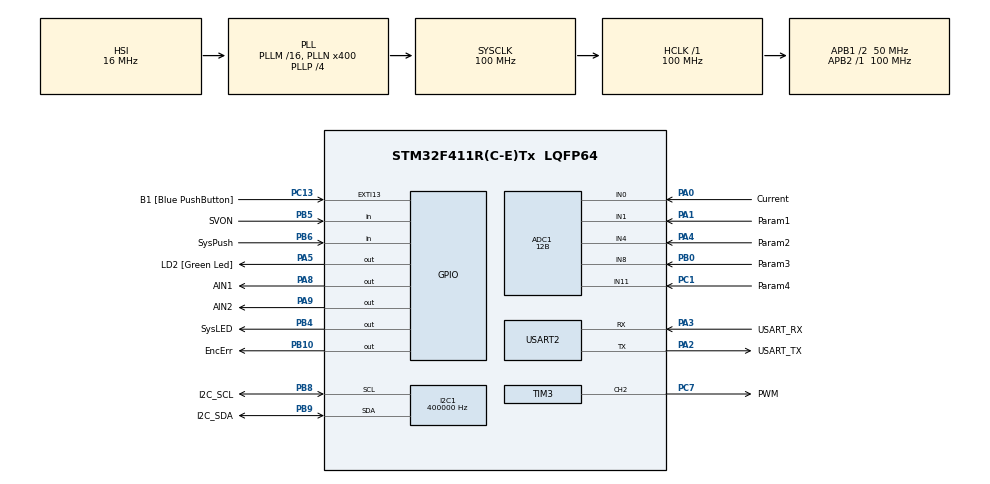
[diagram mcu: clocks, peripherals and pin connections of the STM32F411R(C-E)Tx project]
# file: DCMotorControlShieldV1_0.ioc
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ADC1.Channel-0\#ChannelRegularConversion=ADC_CHANNEL_0
ADC1.Channel-5\#ChannelRegularConversion=ADC_CHANNEL_1
ADC1.Channel-6\#ChannelRegularConversion=ADC_CHANNEL_4
ADC1.Channel-7\#ChannelRegularConversion=ADC_CHANNEL_8
ADC1.Channel-8\#ChannelRegularConversion=ADC_CHANNEL_11
ADC1.ClockPrescaler=ADC_CLOCK_SYNC_PCLK_DIV4
ADC1.ContinuousConvMode=DISABLE
ADC1.DMAContinuousRequests=ENABLE
ADC1.DataAlign=ADC_DATAALIGN_RIGHT
ADC1.DiscontinuousConvMode=DISABLE
ADC1.EOCSelection=ADC_EOC_SEQ_CONV
ADC1.EnableAnalogWatchDog=false
ADC1.ExternalTrigConv=ADC_EXTERNALTRIGCONV_T3_TRGO
ADC1.ExternalTrigConvEdge=ADC_EXTERNALTRIGCONVEDGE_RISING
ADC1.InjNumberOfConversion=0
ADC1.NbrOfConversion=5
ADC1.NbrOfConversionFlag=1
ADC1.Rank-0\#ChannelRegularConversion=1
ADC1.Rank-5\#ChannelRegularConversion=2
ADC1.Rank-6\#ChannelRegularConversion=3
ADC1.Rank-7\#ChannelRegularConversion=4
ADC1.Rank-8\#ChannelRegularConversion=5
ADC1.Resolution=ADC_RESOLUTION_12B
ADC1.SamplingTime-0\#ChannelRegularConversion=ADC_SAMPLETIME_144CYCLES
ADC1.SamplingTime-5\#ChannelRegularConversion=ADC_SAMPLETIME_28CYCLES
ADC1.SamplingTime-6\#ChannelRegularConversion=ADC_SAMPLETIME_28CYCLES
ADC1.SamplingTime-7\#ChannelRegularConversion=ADC_SAMPLETIME_28CYCLES
ADC1.SamplingTime-8\#ChannelRegularConversion=ADC_SAMPLETIME_28CYCLES
ADC1.ScanConvMode=ENABLE
ADC1.master=1
Dma.ADC1.1.Direction=DMA_PERIPH_TO_MEMORY
Dma.ADC1.1.FIFOMode=DMA_FIFOMODE_DISABLE
Dma.ADC1.1.Instance=DMA2_Stream0
Dma.ADC1.1.MemDataAlignment=DMA_MDATAALIGN_HALFWORD
Dma.ADC1.1.MemInc=DMA_MINC_ENABLE
Dma.ADC1.1.Mode=DMA_CIRCULAR
Dma.ADC1.1.PeriphDataAlignment=DMA_PDATAALIGN_HALFWORD
Dma.ADC1.1.PeriphInc=DMA_PINC_DISABLE
Dma.ADC1.1.Priority=DMA_PRIORITY_VERY_HIGH
Dma.I2C1_RX.0.Direction=DMA_PERIPH_TO_MEMORY
Dma.I2C1_RX.0.FIFOMode=DMA_FIFOMODE_DISABLE
Dma.I2C1_RX.0.Instance=DMA1_Stream0
Dma.I2C1_RX.0.MemDataAlignment=DMA_MDATAALIGN_BYTE
Dma.I2C1_RX.0.MemInc=DMA_MINC_ENABLE
Dma.I2C1_RX.0.Mode=DMA_NORMAL
Dma.I2C1_RX.0.PeriphDataAlignment=DMA_PDATAALIGN_BYTE
Dma.I2C1_RX.0.PeriphInc=DMA_PINC_DISABLE
Dma.I2C1_RX.0.Priority=DMA_PRIORITY_VERY_HIGH
Dma.Request0=I2C1_RX
Dma.Request1=ADC1
FREERTOS.HEAP_NUMBER=1
FREERTOS.INCLUDE_vTaskDelayUntil=1
FREERTOS.MEMORY_ALLOCATION=0
FREERTOS.Tasks01=Default,0,128,DefaultTask,Default,NULL,Dynamic,NULL,NULL;MinorLoop,3,256,MinorLoopTask,As external,NULL,Dynamic,NULL,NULL;MajorLoopControl,2,1024,MajorLoopTask,As external,NULL,Dynamic,NULL,NULL;SerialCommunication,-2,512,SerialCommunicationTask,As external,NULL,Dynamic,NULL,NULL
FREERTOS.configCHECK_FOR_STACK_OVERFLOW=2
FREERTOS.configMAX_TASK_NAME_LEN=30
FREERTOS.configUSE_MALLOC_FAILED_HOOK=1
I2C1.ClockSpeed=400000
I2C1.DutyCycle=I2C_DUTYCYCLE_2
I2C1.I2C_Mode=I2C_Fast
I2C1.NoStretchMode=I2C_NOSTRETCH_DISABLE
I2C1.OwnAddress=0x00
Mcu.Family=STM32F4
Mcu.Name=STM32F411R(C-E)Tx
Mcu.Package=LQFP64
Mcu.UserConstants=TIM_CLOCK_SOURCE_HZ,100000000
NVIC.ADC_IRQn=true\:5\:0\:false\:false\:true\:true
NVIC.DMA1_Stream0_IRQn=true\:5\:0\:true\:false\:true\:false
NVIC.DMA2_Stream0_IRQn=true\:5\:0\:true\:false\:true\:false
NVIC.I2C1_ER_IRQn=true\:5\:0\:false\:false\:true\:true
NVIC.I2C1_EV_IRQn=true\:5\:0\:false\:false\:true\:true
NVIC.PriorityGroup=NVIC_PRIORITYGROUP_4
PA0-WKUP.GPIO_Label=Current
PA0-WKUP.Signal=ADCx_IN0
PA1.GPIO_Label=Param1
PA1.Signal=ADCx_IN1
PA13.GPIO_Label=TMS
PA13.Signal=SYS_JTMS-SWDIO
PA14.GPIO_Label=TCK
PA14.Signal=SYS_JTCK-SWCLK
PA2.GPIO_Label=USART_TX
PA2.Mode=Asynchronous
PA2.Signal=USART2_TX
PA3.GPIO_Label=USART_RX
PA3.Mode=Asynchronous
PA3.Signal=USART2_RX
PA4.GPIO_Label=Param2
PA4.Signal=ADCx_IN4
PA5.GPIO_Label=LD2 [Green Led]
PA5.GPIO_Speed=GPIO_SPEED_FREQ_LOW
PA5.Signal=GPIO_Output
PA8.GPIO_Label=AIN1
PA8.GPIO_PuPd=GPIO_PULLDOWN
PA8.GPIO_Speed=GPIO_SPEED_FREQ_VERY_HIGH
PA8.Signal=GPIO_Output
PA9.GPIO_Label=AIN2
PA9.GPIO_PuPd=GPIO_PULLDOWN
PA9.GPIO_Speed=GPIO_SPEED_FREQ_VERY_HIGH
PA9.PinState=GPIO_PIN_RESET
PA9.Signal=GPIO_Output
PB0.GPIO_Label=Param3
PB0.Signal=ADCx_IN8
PB10.GPIO_Label=EncErr
PB10.GPIO_Speed=GPIO_SPEED_FREQ_VERY_HIGH
PB10.Signal=GPIO_Output
PB4.GPIO_Label=SysLED
PB4.GPIO_Speed=GPIO_SPEED_FREQ_VERY_HIGH
PB4.Signal=GPIO_Output
PB5.GPIO_Label=SVON
PB5.GPIO_PuPd=GPIO_NOPULL
PB5.Signal=GPIO_Input
PB6.GPIO_Label=SysPush
PB6.GPIO_PuPd=GPIO_PULLUP
PB6.Signal=GPIO_Input
PB8.GPIO_Label=I2C_SCL
PB8.GPIO_PuPdOD=GPIO_NOPULL
PB8.GPIO_Speed=GPIO_SPEED_FREQ_VERY_HIGH
PB8.Mode=I2C
PB8.Signal=I2C1_SCL
PB9.GPIO_Label=I2C_SDA
PB9.GPIO_PuPdOD=GPIO_NOPULL
PB9.GPIO_Speed=GPIO_SPEED_FREQ_VERY_HIGH
PB9.Mode=I2C
PB9.Signal=I2C1_SDA
PC1.GPIO_Label=Param4
PC1.Signal=ADCx_IN11
PC13-ANTI_TAMP.GPIO_Label=B1 [Blue PushButton]
PC13-ANTI_TAMP.GPIO_ModeDefaultEXTI=GPIO_MODE_IT_FALLING
PC13-ANTI_TAMP.Signal=GPXTI13
PC14-OSC32_IN.Signal=RCC_OSC32_IN
PC15-OSC32_OUT.Signal=RCC_OSC32_OUT
PC7.GPIO_Label=PWM
PC7.GPIO_Speed=GPIO_SPEED_FREQ_VERY_HIGH
PC7.Signal=S_TIM3_CH2
PH0\ -\ OSC_IN.Signal=RCC_OSC_IN
PH1\ -\ OSC_OUT.Signal=RCC_OSC_OUT
ProjectManager.HeapSize=0x200
ProjectManager.StackSize=0x400
ProjectManager.TargetToolchain=SW4STM32
RCC.48MHZClocksFreq_Value=100000000
RCC.AHBFreq_Value=100000000
RCC.APB1CLKDivider=RCC_HCLK_DIV2
RCC.APB1Freq_Value=50000000
RCC.APB1TimFreq_Value=100000000
RCC.APB2Freq_Value=100000000
RCC.APB2TimFreq_Value=100000000
RCC.CortexFreq_Value=100000000
RCC.FLatency-AdvancedSettings=FLASH_LATENCY_3
RCC.HCLKFreq_Value=100000000
RCC.HSE_VALUE=8000000
RCC.HSI_VALUE=16000000
RCC.LSE_VALUE=32768
RCC.PLLN=400
RCC.PLLP=RCC_PLLP_DIV4
RCC.SYSCLKFreq_VALUE=100000000
RCC.SYSCLKSource=RCC_SYSCLKSOURCE_PLLCLK
RCC.VCOOutputFreq_Value=400000000
SH.ADCx_IN0.0=ADC1_IN0,IN0
SH.ADCx_IN1.0=ADC1_IN1,IN1
SH.ADCx_IN11.0=ADC1_IN11,IN11
SH.ADCx_IN4.0=ADC1_IN4,IN4
SH.ADCx_IN8.0=ADC1_IN8,IN8
SH.S_TIM3_CH2.0=TIM3_CH2,PWM Generation2 CH2
TIM3.Channel-PWM\ Generation2\ CH2=TIM_CHANNEL_2
TIM3.OCFastMode_PWM-PWM\ Generation2\ CH2=TIM_OCFAST_DISABLE
TIM3.Period=TIM_CLOCK_SOURCE_HZ / 20000 - 1
TIM3.Prescaler=0
TIM3.Pulse-PWM\ Generation2\ CH2=0
TIM3.TIM_MasterOutputTrigger=TIM_TRGO_UPDATE
USART2.VirtualMode=VM_ASYNC
VP_FREERTOS_VS_ENABLE.Mode=Enabled
board=NUCLEO-F411RE

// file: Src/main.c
/**
  ******************************************************************************
  * File Name          : main.c
  * Description        : Main program body
  ******************************************************************************
  * This notice applies to any and all portions of this file
  * that are not between comment pairs USER CODE BEGIN and
  * USER CODE END. Other portions of this file, whether
  * inserted by the user or by software development tools
  * are owned by their respective copyright owners.
  *
  * Copyright (c) 2017 STMicroelectronics International N.V.
  * All rights reserved.
  *
  * Redistribution and use in source and binary forms, with or without
  * modification, are permitted, provided that the following conditions are met:
  *
  * 1. Redistribution of source code must retain the above copyright notice,
  *    this list of conditions and the following disclaimer.
  * 2. Redistributions in binary form must reproduce the above copyright notice,
  *    this list of conditions and the following disclaimer in the documentation
  *    and/or other materials provided with the distribution.
  * 3. Neither the name of STMicroelectronics nor the names of other
  *    contributors to this software may be used to endorse or promote products
  *    derived from this software without specific written permission.
  * 4. This software, including modifications and/or derivative works of this
  *    software, must execute solely and exclusively on microcontroller or
  *    microprocessor devices manufactured by or for STMicroelectronics.
  * 5. Redistribution and use of this software other than as permitted under
  *    this license is void and will automatically terminate your rights under
  *    this license.
  *
  * THIS SOFTWARE IS PROVIDED BY STMICROELECTRONICS AND CONTRIBUTORS "AS IS"
  * AND ANY EXPRESS, IMPLIED OR STATUTORY WARRANTIES, INCLUDING, BUT NOT
  * LIMITED TO, THE IMPLIED WARRANTIES OF MERCHANTABILITY, FITNESS FOR A
  * PARTICULAR PURPOSE AND NON-INFRINGEMENT OF THIRD PARTY INTELLECTUAL PROPERTY
  * RIGHTS ARE DISCLAIMED TO THE FULLEST EXTENT PERMITTED BY LAW. IN NO EVENT
  * SHALL STMICROELECTRONICS OR CONTRIBUTORS BE LIABLE FOR ANY DIRECT, INDIRECT,
  * INCIDENTAL, SPECIAL, EXEMPLARY, OR CONSEQUENTIAL DAMAGES (INCLUDING, BUT NOT
  * LIMITED TO, PROCUREMENT OF SUBSTITUTE GOODS OR SERVICES; LOSS OF USE, DATA,
  * OR PROFITS; OR BUSINESS INTERRUPTION) HOWEVER CAUSED AND ON ANY THEORY OF
  * LIABILITY, WHETHER IN CONTRACT, STRICT LIABILITY, OR TORT (INCLUDING
  * NEGLIGENCE OR OTHERWISE) ARISING IN ANY WAY OUT OF THE USE OF THIS SOFTWARE,
  * EVEN IF ADVISED OF THE POSSIBILITY OF SUCH DAMAGE.
  *
  ******************************************************************************
  */
#include "main.h"
#include "stm32f4xx_hal.h"
#include "cmsis_os.h"
#include "adc.h"
#include "dma.h"
#include "i2c.h"
#include "tim.h"
#include "usart.h"
#include "gpio.h"

/* USER CODE BEGIN Includes */
//#define USE_MBED

#ifdef USE_MBED
#include "mbed.h"
#endif // USE_MBED
/* USER CODE END Includes */

void SystemClock_Config(void);
void MX_FREERTOS_Init(void);

/* USER CODE BEGIN PFP */
/* Private function prototypes -----------------------------------------------*/

/* USER CODE END PFP */

/* USER CODE BEGIN 0 */
/*
#if (configTICK_RATE_HZ) != (FreeRTOS_PERIOD_HZ)
#error change configTICK_RATE_HZ in FreeRTOSConfig.h to FreeRTOS_PERIOD_HZ
#endif*/
/* USER CODE END 0 */

int main(void)
{

  /* MCU Configuration----------------------------------------------------------*/

  /* Reset of all peripherals, Initializes the Flash interface and the Systick. */
  HAL_Init();

  /* USER CODE BEGIN Init */
#ifdef USE_MBED
  goto Skip_SystemClock_Config;
#endif
  /* USER CODE END Init */

  /* Configure the system clock */
  SystemClock_Config();

  /* USER CODE BEGIN SysInit */
Skip_SystemClock_Config:
  /* USER CODE END SysInit */

  /* Initialize all configured peripherals */
  MX_GPIO_Init();
  MX_DMA_Init();
  MX_USART2_UART_Init();
  MX_I2C1_Init();
  MX_TIM3_Init();
  MX_ADC1_Init();

  /* USER CODE BEGIN 2 */
    printf("\r\n***** Program start *****\r\n");
  /* USER CODE END 2 */

  /* Call init function for freertos objects (in freertos.c) */
  MX_FREERTOS_Init();

  /* Start scheduler */
  osKernelStart();

  /* We should never get here as control is now taken by the scheduler */

  /* Infinite loop */
  while (1)
  {

  }

}

/** System Clock Configuration
*/
void SystemClock_Config(void)
{

  RCC_OscInitTypeDef RCC_OscInitStruct;
  RCC_ClkInitTypeDef RCC_ClkInitStruct;

    /**Configure the main internal regulator output voltage
    */
  __HAL_RCC_PWR_CLK_ENABLE();

  __HAL_PWR_VOLTAGESCALING_CONFIG(PWR_REGULATOR_VOLTAGE_SCALE1);

    /**Initializes the CPU, AHB and APB busses clocks
    */
  RCC_OscInitStruct.OscillatorType = RCC_OSCILLATORTYPE_HSI;
  RCC_OscInitStruct.HSIState = RCC_HSI_ON;
  RCC_OscInitStruct.HSICalibrationValue = 16;
  RCC_OscInitStruct.PLL.PLLState = RCC_PLL_ON;
  RCC_OscInitStruct.PLL.PLLSource = RCC_PLLSOURCE_HSI;
  RCC_OscInitStruct.PLL.PLLM = 16;
  RCC_OscInitStruct.PLL.PLLN = 400;
  RCC_OscInitStruct.PLL.PLLP = RCC_PLLP_DIV4;
  RCC_OscInitStruct.PLL.PLLQ = 4;
  if (HAL_RCC_OscConfig(&RCC_OscInitStruct) != HAL_OK)
  {
    _Error_Handler(__FILE__, __LINE__);
  }

    /**Initializes the CPU, AHB and APB busses clocks
    */
  RCC_ClkInitStruct.ClockType = RCC_CLOCKTYPE_HCLK|RCC_CLOCKTYPE_SYSCLK
                              |RCC_CLOCKTYPE_PCLK1|RCC_CLOCKTYPE_PCLK2;
  RCC_ClkInitStruct.SYSCLKSource = RCC_SYSCLKSOURCE_PLLCLK;
  RCC_ClkInitStruct.AHBCLKDivider = RCC_SYSCLK_DIV1;
  RCC_ClkInitStruct.APB1CLKDivider = RCC_HCLK_DIV2;
  RCC_ClkInitStruct.APB2CLKDivider = RCC_HCLK_DIV1;

  if (HAL_RCC_ClockConfig(&RCC_ClkInitStruct, FLASH_LATENCY_3) != HAL_OK)
  {
    _Error_Handler(__FILE__, __LINE__);
  }

    /**Configure the Systick interrupt time
    */
  HAL_SYSTICK_Config(HAL_RCC_GetHCLKFreq()/1000);

    /**Configure the Systick
    */
  HAL_SYSTICK_CLKSourceConfig(SYSTICK_CLKSOURCE_HCLK);

  /* SysTick_IRQn interrupt configuration */
  HAL_NVIC_SetPriority(SysTick_IRQn, 15, 0);
}

void _Error_Handler(char * file, int line)
{
  /* USER CODE BEGIN Error_Handler_Debug */
  /* User can add his own implementation to report the HAL error return state */
    printf("Error Handler is called: file %s on line %d\r\n", file, line);
  for(;;);
  /* USER CODE END Error_Handler_Debug */
}

#ifdef USE_FULL_ASSERT

/**
   * @brief Reports the name of the source file and the source line number
   * where the assert_param error has occurred.
   * @param file: pointer to the source file name
   * @param line: assert_param error line source number
   * @retval None
   */
void assert_failed(uint8_t* file, uint32_t line)
{
  /* USER CODE BEGIN 6 */
  /* User can add his own implementation to report the file name and line number,
    ex: printf("Wrong parameters value: file %s on line %d\r\n", file, line) */
    printf("Wrong parameters value: file %s on line %d\r\n", file, (int)line);
  /* USER CODE END 6 */

}

#endif

/************************ (C) COPYRIGHT STMicroelectronics *****END OF FILE****/

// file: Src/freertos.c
/**
  ******************************************************************************
  * File Name          : freertos.c
  * Description        : Code for freertos applications
  ******************************************************************************
  * This notice applies to any and all portions of this file
  * that are not between comment pairs USER CODE BEGIN and
  * USER CODE END. Other portions of this file, whether
  * inserted by the user or by software development tools
  * are owned by their respective copyright owners.
  *
  * Copyright (c) 2017 STMicroelectronics International N.V.
  * All rights reserved.
  *
  * Redistribution and use in source and binary forms, with or without
  * modification, are permitted, provided that the following conditions are met:
  *
  * 1. Redistribution of source code must retain the above copyright notice,
  *    this list of conditions and the following disclaimer.
  * 2. Redistributions in binary form must reproduce the above copyright notice,
  *    this list of conditions and the following disclaimer in the documentation
  *    and/or other materials provided with the distribution.
  * 3. Neither the name of STMicroelectronics nor the names of other
  *    contributors to this software may be used to endorse or promote products
  *    derived from this software without specific written permission.
  * 4. This software, including modifications and/or derivative works of this
  *    software, must execute solely and exclusively on microcontroller or
  *    microprocessor devices manufactured by or for STMicroelectronics.
  * 5. Redistribution and use of this software other than as permitted under
  *    this license is void and will automatically terminate your rights under
  *    this license.
  *
  * THIS SOFTWARE IS PROVIDED BY STMICROELECTRONICS AND CONTRIBUTORS "AS IS"
  * AND ANY EXPRESS, IMPLIED OR STATUTORY WARRANTIES, INCLUDING, BUT NOT
  * LIMITED TO, THE IMPLIED WARRANTIES OF MERCHANTABILITY, FITNESS FOR A
  * PARTICULAR PURPOSE AND NON-INFRINGEMENT OF THIRD PARTY INTELLECTUAL PROPERTY
  * RIGHTS ARE DISCLAIMED TO THE FULLEST EXTENT PERMITTED BY LAW. IN NO EVENT
  * SHALL STMICROELECTRONICS OR CONTRIBUTORS BE LIABLE FOR ANY DIRECT, INDIRECT,
  * INCIDENTAL, SPECIAL, EXEMPLARY, OR CONSEQUENTIAL DAMAGES (INCLUDING, BUT NOT
  * LIMITED TO, PROCUREMENT OF SUBSTITUTE GOODS OR SERVICES; LOSS OF USE, DATA,
  * OR PROFITS; OR BUSINESS INTERRUPTION) HOWEVER CAUSED AND ON ANY THEORY OF
  * LIABILITY, WHETHER IN CONTRACT, STRICT LIABILITY, OR TORT (INCLUDING
  * NEGLIGENCE OR OTHERWISE) ARISING IN ANY WAY OUT OF THE USE OF THIS SOFTWARE,
  * EVEN IF ADVISED OF THE POSSIBILITY OF SUCH DAMAGE.
  *
  ******************************************************************************
  */

#include "FreeRTOS.h"
#include "task.h"
#include "cmsis_os.h"

/* USER CODE BEGIN Includes */
#include "stdio.h"
/* USER CODE END Includes */

osThreadId DefaultHandle;
osThreadId MinorLoopHandle;
osThreadId MajorLoopControlHandle;
osThreadId SerialCommunicationHandle;

void DefaultTask(void const * argument);
extern void MinorLoopTask(void const * argument);
extern void MajorLoopTask(void const * argument);
extern void SerialCommunicationTask(void const * argument);

void MX_FREERTOS_Init(void); /* (MISRA C 2004 rule 8.1) */

/* Hook prototypes */
void vApplicationStackOverflowHook(xTaskHandle xTask, signed char *pcTaskName);
void vApplicationMallocFailedHook(void);

/* USER CODE BEGIN 4 */
__weak void vApplicationStackOverflowHook(xTaskHandle xTask, signed char *pcTaskName)
{
   /* Run time stack overflow checking is performed if
   configCHECK_FOR_STACK_OVERFLOW is defined to 1 or 2. This hook function is
   called if a stack overflow is detected. */
    printf("vApplicationStackOverflowHook is called\r\n");
}
/* USER CODE END 4 */

/* USER CODE BEGIN 5 */
__weak void vApplicationMallocFailedHook(void)
{
   /* vApplicationMallocFailedHook() will only be called if
   configUSE_MALLOC_FAILED_HOOK is set to 1 in FreeRTOSConfig.h. It is a hook
   function that will get called if a call to pvPortMalloc() fails.
   pvPortMalloc() is called internally by the kernel whenever a task, queue,
   timer or semaphore is created. It is also called by various parts of the
   demo application. If heap_1.c or heap_2.c are used, then the size of the
   heap available to pvPortMalloc() is defined by configTOTAL_HEAP_SIZE in
   FreeRTOSConfig.h, and the xPortGetFreeHeapSize() API function can be used
   to query the size of free heap space that remains (although it does not
   provide information on how the remaining heap might be fragmented). */
    printf("vApplicationMallocFailedHook is called\r\n");
}
/* USER CODE END 5 */

/* Init FreeRTOS */

void MX_FREERTOS_Init(void) {
  /* USER CODE BEGIN Init */
    if(configTICK_RATE_HZ != FreeRTOS_PERIOD_HZ)
    {
        printf("change configTICK_RATE_HZ(%d) in FreeRTOSConfig.h to FreeRTOS_PERIOD_HZ(%d)\r\nProgram stop."
                , (int)configTICK_RATE_HZ, (int)FreeRTOS_PERIOD_HZ);
        for(;;);
    }
  /* USER CODE END Init */

  /* Create the thread(s) */
  /* definition and creation of Default */
  osThreadDef(Default, DefaultTask, osPriorityNormal, 0, 128);
  DefaultHandle = osThreadCreate(osThread(Default), NULL);

  /* definition and creation of MinorLoop */
  osThreadDef(MinorLoop, MinorLoopTask, osPriorityRealtime, 0, 256);
  MinorLoopHandle = osThreadCreate(osThread(MinorLoop), NULL);

  /* definition and creation of MajorLoopControl */
  osThreadDef(MajorLoopControl, MajorLoopTask, osPriorityHigh, 0, 1024);
  MajorLoopControlHandle = osThreadCreate(osThread(MajorLoopControl), NULL);

  /* definition and creation of SerialCommunication */
  osThreadDef(SerialCommunication, SerialCommunicationTask, osPriorityLow, 0, 512);
  SerialCommunicationHandle = osThreadCreate(osThread(SerialCommunication), NULL);

}

/* DefaultTask function */
void DefaultTask(void const * argument)
{

  for(;;)
  {
    osDelay(1);
  }
}

/************************ (C) COPYRIGHT STMicroelectronics *****END OF FILE****/
